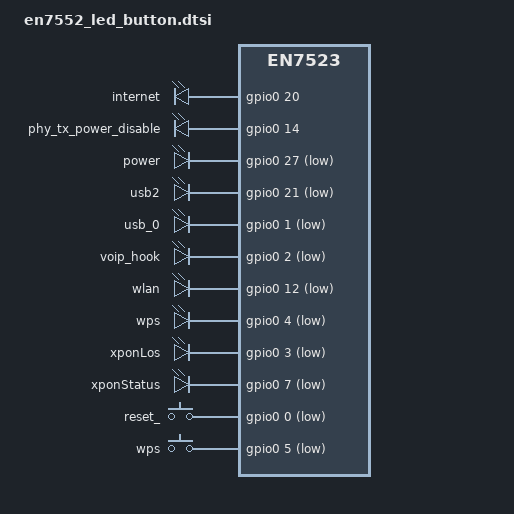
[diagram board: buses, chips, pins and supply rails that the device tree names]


#include <dt-bindings/interrupt-controller/irq.h>
#include <dt-bindings/interrupt-controller/arm-gic.h>

/ {
	compatible = "econet,en7523", "airoha,en7523";
	#address-cells = <1>;
	#size-cells = <1>;

	leds {
		compatible = "gpio-leds";

		internet {
			label = "internet";
			gpios = <&gpio0 20 GPIO_ACTIVE_HIGH>;
			linux,default-trigger = "timer";
		};
		phy_tx_power_disable {
			label = "phy_tx_power_disable";
			gpios = <&gpio0 14 GPIO_ACTIVE_HIGH>;
			linux,default-trigger = "dsldev";
			default-state = "on";
		};
		power {
			label = "power";
			gpios = <&gpio0 27 GPIO_ACTIVE_LOW>;
			linux,default-trigger = "timer";
		};
		usb2 {
			label = "usb2";
			gpios = <&gpio0 21 GPIO_ACTIVE_LOW>;
			trigger-sources = <&xhci_hcd>;
			linux,default-trigger = "timer";
		};
		usb_0 {
			label = "usb_0";
			gpios = <&gpio0 1 GPIO_ACTIVE_LOW>;
			linux,default-trigger = "timer";
		};
		voip_hook {
			label = "voip_hook";
			gpios = <&gpio0 2 GPIO_ACTIVE_LOW>;
			linux,default-trigger = "timer";
		};
		wlan {
			label = "wlan";
			gpios = <&gpio0 12 GPIO_ACTIVE_LOW>;
			linux,default-trigger = "timer";
		};
		wps {
			label = "wps";
			gpios = <&gpio0 4 GPIO_ACTIVE_LOW>;
			linux,default-trigger = "timer";
		};
		xponLos {
			label = "xponLos";
			gpios = <&gpio0 3 GPIO_ACTIVE_LOW>;
			linux,default-trigger = "timer";
		};
		
		xponStatus {
			label = "xponStatus";
			gpios = <&gpio0 7 GPIO_ACTIVE_LOW>;
			linux,default-trigger = "timer";
		};
	};
	
	gpio-keys-polled {
		compatible = "gpio-keys-polled";
		poll-interval = <100>;
		
		reset_ {
			label = "reset_";
			linux,code = <BTN_0>;
			gpios = <&gpio0 0 GPIO_ACTIVE_LOW>;
		};
		
		wps {
			label = "wps";
			linux,code = <KEY_WPS_BUTTON>;
			gpios = <&gpio0 5 GPIO_ACTIVE_LOW>;
		};
	};
};
